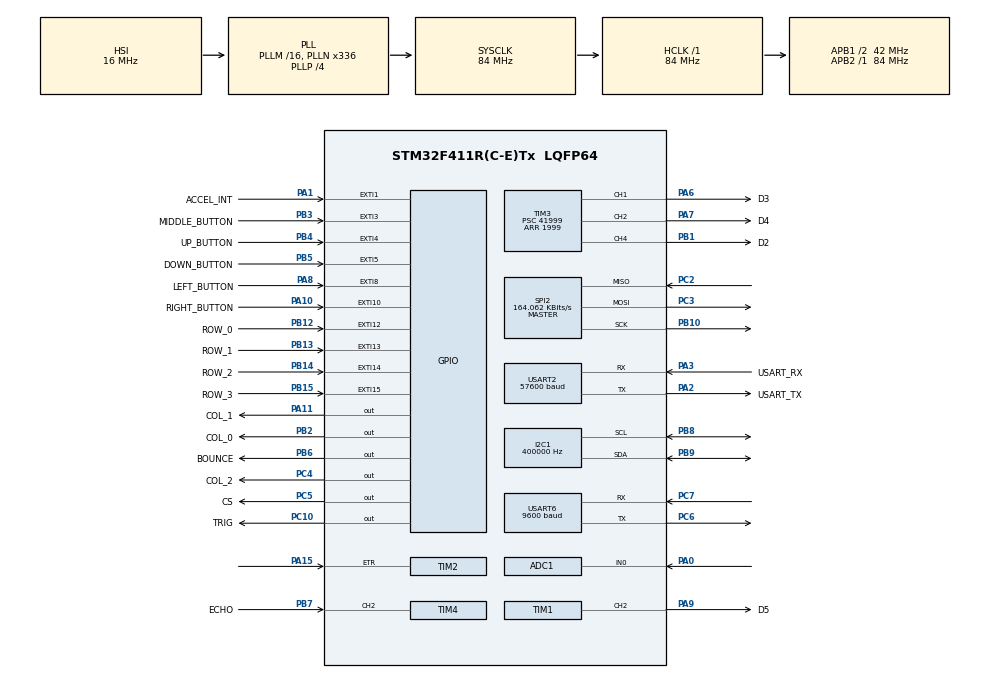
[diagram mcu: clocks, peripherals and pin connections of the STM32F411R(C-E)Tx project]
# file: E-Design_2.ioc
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ADC1.Channel-0\#ChannelRegularConversion=ADC_CHANNEL_0
ADC1.DMAContinuousRequests=ENABLE
ADC1.ExternalTrigConv=ADC_EXTERNALTRIGCONV_T5_CC1
ADC1.NbrOfConversion=1
ADC1.NbrOfConversionFlag=1
ADC1.Rank-0\#ChannelRegularConversion=1
ADC1.SamplingTime-0\#ChannelRegularConversion=ADC_SAMPLETIME_3CYCLES
ADC1.master=1
Dma.ADC1.0.Direction=DMA_PERIPH_TO_MEMORY
Dma.ADC1.0.FIFOMode=DMA_FIFOMODE_DISABLE
Dma.ADC1.0.Instance=DMA2_Stream0
Dma.ADC1.0.MemDataAlignment=DMA_MDATAALIGN_HALFWORD
Dma.ADC1.0.MemInc=DMA_MINC_ENABLE
Dma.ADC1.0.Mode=DMA_CIRCULAR
Dma.ADC1.0.PeriphDataAlignment=DMA_PDATAALIGN_HALFWORD
Dma.ADC1.0.PeriphInc=DMA_PINC_DISABLE
Dma.ADC1.0.Priority=DMA_PRIORITY_LOW
Dma.I2C1_RX.1.Direction=DMA_PERIPH_TO_MEMORY
Dma.I2C1_RX.1.FIFOMode=DMA_FIFOMODE_DISABLE
Dma.I2C1_RX.1.Instance=DMA1_Stream0
Dma.I2C1_RX.1.MemDataAlignment=DMA_MDATAALIGN_BYTE
Dma.I2C1_RX.1.MemInc=DMA_MINC_ENABLE
Dma.I2C1_RX.1.Mode=DMA_NORMAL
Dma.I2C1_RX.1.PeriphDataAlignment=DMA_PDATAALIGN_BYTE
Dma.I2C1_RX.1.PeriphInc=DMA_PINC_DISABLE
Dma.I2C1_RX.1.Priority=DMA_PRIORITY_MEDIUM
Dma.Request0=ADC1
Dma.Request1=I2C1_RX
I2C1.ClockSpeed=400000
I2C1.I2C_Mode=I2C_Fast
IWDG.Prescaler=IWDG_PRESCALER_32
IWDG.Reload=3000
Mcu.Family=STM32F4
Mcu.Name=STM32F411R(C-E)Tx
Mcu.Package=LQFP64
NVIC.DMA1_Stream0_IRQn=true\:0\:0\:false\:false\:true\:false\:true\:true
NVIC.DMA2_Stream0_IRQn=true\:0\:0\:false\:false\:true\:false\:true\:true
NVIC.EXTI15_10_IRQn=true\:0\:0\:false\:false\:true\:true\:true\:true
NVIC.EXTI1_IRQn=true\:0\:0\:false\:false\:true\:true\:true\:true
NVIC.EXTI3_IRQn=true\:0\:0\:false\:false\:true\:true\:true\:true
NVIC.EXTI4_IRQn=true\:0\:0\:false\:false\:true\:true\:true\:true
NVIC.EXTI9_5_IRQn=true\:0\:0\:false\:false\:true\:true\:true\:true
NVIC.I2C1_EV_IRQn=true\:0\:0\:false\:false\:true\:true\:true\:true
NVIC.PVD_IRQn=true\:0\:0\:false\:false\:true\:true\:true\:true
NVIC.PriorityGroup=NVIC_PRIORITYGROUP_0
NVIC.TIM4_IRQn=true\:0\:0\:false\:false\:true\:true\:true\:true
NVIC.USART2_IRQn=true\:0\:0\:false\:false\:true\:true\:true\:true
NVIC.USART6_IRQn=true\:0\:0\:false\:false\:true\:true\:true\:true
PA0-WKUP.Signal=ADCx_IN0
PA1.GPIO_Label=ACCEL_INT
PA1.Signal=GPXTI1
PA10.GPIO_Label=RIGHT_BUTTON
PA10.GPIO_PuPd=GPIO_PULLDOWN
PA10.Signal=GPXTI10
PA11.GPIO_Label=COL_1
PA11.Signal=GPIO_Output
PA13.Mode=Serial_Wire
PA13.Signal=SYS_JTMS-SWDIO
PA14.Mode=Serial_Wire
PA14.Signal=SYS_JTCK-SWCLK
PA15.Signal=S_TIM2_CH1_ETR
PA2.GPIO_Label=USART_TX
PA2.Mode=Asynchronous
PA2.Signal=USART2_TX
PA3.GPIO_Label=USART_RX
PA3.Mode=Asynchronous
PA3.Signal=USART2_RX
PA6.GPIO_Label=D3
PA6.Signal=S_TIM3_CH1
PA7.GPIO_Label=D4
PA7.Signal=S_TIM3_CH2
PA8.GPIO_Label=LEFT_BUTTON
PA8.GPIO_PuPd=GPIO_PULLDOWN
PA8.Signal=GPXTI8
PA9.GPIO_Label=D5
PA9.Signal=S_TIM1_CH2
PB1.GPIO_Label=D2
PB1.Signal=S_TIM3_CH4
PB10.GPIO_PuPd=GPIO_PULLUP
PB10.Mode=Full_Duplex_Master
PB10.Signal=SPI2_SCK
PB12.GPIO_Label=ROW_0
PB12.GPIO_PuPd=GPIO_PULLDOWN
PB12.Signal=GPXTI12
PB13.GPIO_Label=ROW_1
PB13.GPIO_PuPd=GPIO_PULLDOWN
PB13.Signal=GPXTI13
PB14.GPIO_Label=ROW_2
PB14.GPIO_PuPd=GPIO_PULLDOWN
PB14.Signal=GPXTI14
PB15.GPIO_Label=ROW_3
PB15.GPIO_PuPd=GPIO_PULLDOWN
PB15.Signal=GPXTI15
PB2.GPIO_Label=COL_0
PB2.Signal=GPIO_Output
PB3.GPIO_Label=MIDDLE_BUTTON
PB3.GPIO_PuPd=GPIO_PULLDOWN
PB3.Signal=GPXTI3
PB4.GPIO_Label=UP_BUTTON
PB4.GPIO_PuPd=GPIO_PULLDOWN
PB4.Signal=GPXTI4
PB5.GPIO_Label=DOWN_BUTTON
PB5.GPIO_PuPd=GPIO_PULLDOWN
PB5.Signal=GPXTI5
PB6.GPIO_Label=BOUNCE
PB6.Signal=GPIO_Output
PB7.GPIO_Label=ECHO
PB7.Signal=S_TIM4_CH2
PB8.Mode=I2C
PB8.Signal=I2C1_SCL
PB9.Mode=I2C
PB9.Signal=I2C1_SDA
PC10.GPIO_Label=TRIG
PC10.Signal=GPIO_Output
PC14-OSC32_IN.Mode=LSE-External-Oscillator
PC14-OSC32_IN.Signal=RCC_OSC32_IN
PC15-OSC32_OUT.Mode=LSE-External-Oscillator
PC15-OSC32_OUT.Signal=RCC_OSC32_OUT
PC2.GPIO_PuPd=GPIO_PULLUP
PC2.Mode=Full_Duplex_Master
PC2.Signal=SPI2_MISO
PC3.GPIO_PuPd=GPIO_PULLUP
PC3.Mode=Full_Duplex_Master
PC3.Signal=SPI2_MOSI
PC4.GPIO_Label=COL_2
PC4.Signal=GPIO_Output
PC5.GPIO_Label=CS
PC5.GPIO_PuPd=GPIO_PULLUP
PC5.PinState=GPIO_PIN_SET
PC5.Signal=GPIO_Output
PC6.Mode=Asynchronous
PC6.Signal=USART6_TX
PC7.Mode=Asynchronous
PC7.Signal=USART6_RX
ProjectManager.HeapSize=0x200
ProjectManager.StackSize=0x400
ProjectManager.TargetToolchain=STM32CubeIDE
RCC.48MHZClocksFreq_Value=84000000
RCC.AHBFreq_Value=84000000
RCC.APB1CLKDivider=RCC_HCLK_DIV2
RCC.APB1Freq_Value=42000000
RCC.APB1TimFreq_Value=84000000
RCC.APB2Freq_Value=84000000
RCC.APB2TimFreq_Value=84000000
RCC.CortexFreq_Value=84000000
RCC.FLatency-AdvancedSettings=FLASH_LATENCY_2
RCC.HCLKFreq_Value=84000000
RCC.HSE_VALUE=8000000
RCC.HSI_VALUE=16000000
RCC.PLLN=336
RCC.PLLP=RCC_PLLP_DIV4
RCC.RCC_RTC_Clock_Source=RCC_RTCCLKSOURCE_LSE
RCC.RCC_RTC_Clock_SourceVirtual=RCC_RTCCLKSOURCE_LSE
RCC.SYSCLKFreq_VALUE=84000000
RCC.SYSCLKSource=RCC_SYSCLKSOURCE_PLLCLK
RCC.VCOOutputFreq_Value=336000000
SH.ADCx_IN0.0=ADC1_IN0,IN0
SH.S_TIM1_CH2.0=TIM1_CH2,PWM Generation2 CH2
SH.S_TIM2_CH1_ETR.0=TIM2_ETR,TriggerSource_ETR
SH.S_TIM3_CH1.0=TIM3_CH1,PWM Generation1 CH1
SH.S_TIM3_CH2.0=TIM3_CH2,PWM Generation2 CH2
SH.S_TIM3_CH4.0=TIM3_CH4,PWM Generation4 CH4
SH.S_TIM4_CH2.0=TIM4_CH2,Input_Capture2_from_TI2
SPI2.BaudRatePrescaler=SPI_BAUDRATEPRESCALER_256
SPI2.CalculateBaudRate=164.062 KBits/s
SPI2.Direction=SPI_DIRECTION_2LINES
SPI2.Mode=SPI_MODE_MASTER
SPI2.VirtualType=VM_MASTER
TIM1.Channel-PWM\ Generation2\ CH2=TIM_CHANNEL_2
TIM1.OC2Preload_PWM=DISABLE
TIM1.Period=1999
TIM1.Prescaler=41999
TIM1.Pulse-PWM\ Generation2\ CH2=0
TIM2.Slave_TriggerFilter=8
TIM3.Channel-PWM\ Generation1\ CH1=TIM_CHANNEL_1
TIM3.Channel-PWM\ Generation2\ CH2=TIM_CHANNEL_2
TIM3.Channel-PWM\ Generation4\ CH4=TIM_CHANNEL_4
TIM3.OC1Preload_PWM=DISABLE
TIM3.OC2Preload_PWM=DISABLE
TIM3.OC4Preload_PWM=DISABLE
TIM3.Period=1999
TIM3.Prescaler=41999
TIM3.Pulse-PWM\ Generation1\ CH1=0
TIM3.Pulse-PWM\ Generation2\ CH2=0
TIM4.Channel-Input_Capture2_from_TI2=TIM_CHANNEL_2
TIM4.ICPolarity_CH2=TIM_INPUTCHANNELPOLARITY_BOTHEDGE
TIM4.Prescaler=83
TIM5.Channel-Output\ Compare1\ No\ Output=TIM_CHANNEL_1
TIM5.OCMode_1=TIM_OCMODE_TOGGLE
TIM5.Period=999
TIM5.Prescaler=83
TIM5.Pulse-Output\ Compare1\ No\ Output=500
TIM5.TIM_MasterOutputTrigger=TIM_TRGO_UPDATE
TIM5.TIM_MasterSlaveMode=TIM_MASTERSLAVEMODE_DISABLE
USART2.BaudRate=57600
USART2.Parity=PARITY_EVEN
USART2.VirtualMode=VM_ASYNC
USART2.WordLength=WORDLENGTH_9B
USART6.BaudRate=9600
USART6.OverSampling=UART_OVERSAMPLING_16
USART6.Parity=PARITY_NONE
USART6.StopBits=STOPBITS_1
USART6.VirtualMode=VM_ASYNC
USART6.WordLength=WORDLENGTH_8B
VP_FATFS_VS_Generic.Mode=User_defined
VP_IWDG_VS_IWDG.Mode=IWDG_Activate
VP_RTC_VS_RTC_Activate.Mode=RTC_Enabled
VP_RTC_VS_RTC_Calendar.Mode=RTC_Calendar
VP_TIM2_VS_ControllerModeClock.Mode=Clock Mode
VP_TIM5_VS_ClockSourceINT.Mode=Internal
VP_TIM5_VS_no_output1.Mode=Output Compare1 No Output
board=NUCLEO-F411RE

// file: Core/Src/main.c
/* USER CODE BEGIN Header */
/**
 ******************************************************************************
 * @file           : main.c
 * @brief          : Main program body
 ******************************************************************************
 * @attention
 *
 * Copyright (c) 2026 STMicroelectronics.
 * All rights reserved.
 *
 * This software is licensed under terms that can be found in the LICENSE file
 * in the root directory of this software component.
 * If no LICENSE file comes with this software, it is provided AS-IS.
 *
 ******************************************************************************
 */
/* USER CODE END Header */
#include "main.h"
#include "fatfs.h"

/* USER CODE BEGIN Includes */
#include <stdio.h>   // Required for sprintf
#include <string.h>  // Required for strlen
#include "General.h"
/* USER CODE END Includes */

ADC_HandleTypeDef hadc1;
DMA_HandleTypeDef hdma_adc1;

I2C_HandleTypeDef hi2c1;
DMA_HandleTypeDef hdma_i2c1_rx;

IWDG_HandleTypeDef hiwdg;

RTC_HandleTypeDef hrtc;

SPI_HandleTypeDef hspi2;

TIM_HandleTypeDef htim1;
TIM_HandleTypeDef htim2;
TIM_HandleTypeDef htim3;
TIM_HandleTypeDef htim4;
TIM_HandleTypeDef htim5;

UART_HandleTypeDef huart2;
UART_HandleTypeDef huart6;

/* USER CODE BEGIN PV */

//Buttons
extern volatile int triggerTick[6];
extern volatile uint8_t triggerDetected[6];

//UART
extern volatile uint8_t command_ready;
char tx_buffer[50];

//TEMP SENSOR

//DISTANCE SENSOR

/* USER CODE END PV */

void SystemClock_Config(void);
static void MX_GPIO_Init(void);
static void MX_DMA_Init(void);
static void MX_USART2_UART_Init(void);
static void MX_TIM1_Init(void);
static void MX_TIM3_Init(void);
static void MX_TIM2_Init(void);
static void MX_TIM4_Init(void);
static void MX_I2C1_Init(void);
static void MX_ADC1_Init(void);
static void MX_TIM5_Init(void);
static void MX_USART6_UART_Init(void);
static void MX_SPI2_Init(void);
static void MX_RTC_Init(void);
static void MX_IWDG_Init(void);

int main(void)
{

  /* MCU Configuration--------------------------------------------------------*/

  /* Reset of all peripherals, Initializes the Flash interface and the Systick. */
  HAL_Init();

  /* Configure the system clock */
  SystemClock_Config();

  /* Initialize all configured peripherals */
  MX_GPIO_Init();
  MX_DMA_Init();
  MX_USART2_UART_Init();
  MX_TIM1_Init();
  MX_TIM3_Init();
  MX_TIM2_Init();
  MX_TIM4_Init();
  MX_I2C1_Init();
  MX_ADC1_Init();
  MX_TIM5_Init();
  MX_USART6_UART_Init();
  MX_FATFS_Init();
  MX_SPI2_Init();
  MX_RTC_Init();
  MX_IWDG_Init();
  /* USER CODE BEGIN 2 */

	//testOLED();

	HAL_TIM_Base_Start(&htim2);
	HAL_TIM_IC_Start_IT(&htim4, TIM_CHANNEL_2);
	HAL_TIM_Base_Start(&htim5);
	defaultSetup();
  /* USER CODE END 2 */

  /* Infinite loop */
  /* USER CODE BEGIN WHILE */
	uint8_t sent = 0;
	uint32_t boot_time = HAL_GetTick();

	while (1) {

		if (!sent && (HAL_GetTick() - boot_time) > 100) {
			sprintf(tx_buffer, "*27547957#\n");
			HAL_UART_Transmit(&huart2, (uint8_t*) tx_buffer, strlen(tx_buffer),
					1000);
			sent = 1;

			MPU6050_Init_2_A();

		} else{ //Allows a startup time

			mainLoop();

		}
    /* USER CODE END WHILE */

    /* USER CODE BEGIN 3 */

		HAL_IWDG_Refresh(&hiwdg); //PET THE WATCHDOG

	}
  /* USER CODE END 3 */
}

void SystemClock_Config(void)
{
  RCC_OscInitTypeDef RCC_OscInitStruct = {0};
  RCC_ClkInitTypeDef RCC_ClkInitStruct = {0};

  /** Configure the main internal regulator output voltage
  */
  __HAL_RCC_PWR_CLK_ENABLE();
  __HAL_PWR_VOLTAGESCALING_CONFIG(PWR_REGULATOR_VOLTAGE_SCALE1);

  /** Initializes the RCC Oscillators according to the specified parameters
  * in the RCC_OscInitTypeDef structure.
  */
  RCC_OscInitStruct.OscillatorType = RCC_OSCILLATORTYPE_HSI|RCC_OSCILLATORTYPE_LSI
                              |RCC_OSCILLATORTYPE_LSE;
  RCC_OscInitStruct.LSEState = RCC_LSE_ON;
  RCC_OscInitStruct.HSIState = RCC_HSI_ON;
  RCC_OscInitStruct.HSICalibrationValue = RCC_HSICALIBRATION_DEFAULT;
  RCC_OscInitStruct.LSIState = RCC_LSI_ON;
  RCC_OscInitStruct.PLL.PLLState = RCC_PLL_ON;
  RCC_OscInitStruct.PLL.PLLSource = RCC_PLLSOURCE_HSI;
  RCC_OscInitStruct.PLL.PLLM = 16;
  RCC_OscInitStruct.PLL.PLLN = 336;
  RCC_OscInitStruct.PLL.PLLP = RCC_PLLP_DIV4;
  RCC_OscInitStruct.PLL.PLLQ = 4;
  if (HAL_RCC_OscConfig(&RCC_OscInitStruct) != HAL_OK)
  {
    Error_Handler();
  }

  /** Initializes the CPU, AHB and APB buses clocks
  */
  RCC_ClkInitStruct.ClockType = RCC_CLOCKTYPE_HCLK|RCC_CLOCKTYPE_SYSCLK
                              |RCC_CLOCKTYPE_PCLK1|RCC_CLOCKTYPE_PCLK2;
  RCC_ClkInitStruct.SYSCLKSource = RCC_SYSCLKSOURCE_PLLCLK;
  RCC_ClkInitStruct.AHBCLKDivider = RCC_SYSCLK_DIV1;
  RCC_ClkInitStruct.APB1CLKDivider = RCC_HCLK_DIV2;
  RCC_ClkInitStruct.APB2CLKDivider = RCC_HCLK_DIV1;

  if (HAL_RCC_ClockConfig(&RCC_ClkInitStruct, FLASH_LATENCY_2) != HAL_OK)
  {
    Error_Handler();
  }
}

static void MX_ADC1_Init(void)
{

  ADC_ChannelConfTypeDef sConfig = {0};

  /** Configure the global features of the ADC (Clock, Resolution, Data Alignment and number of conversion)
  */
  hadc1.Instance = ADC1;
  hadc1.Init.ClockPrescaler = ADC_CLOCK_SYNC_PCLK_DIV4;
  hadc1.Init.Resolution = ADC_RESOLUTION_12B;
  hadc1.Init.ScanConvMode = DISABLE;
  hadc1.Init.ContinuousConvMode = DISABLE;
  hadc1.Init.DiscontinuousConvMode = DISABLE;
  hadc1.Init.ExternalTrigConvEdge = ADC_EXTERNALTRIGCONVEDGE_RISING;
  hadc1.Init.ExternalTrigConv = ADC_EXTERNALTRIGCONV_T5_CC1;
  hadc1.Init.DataAlign = ADC_DATAALIGN_RIGHT;
  hadc1.Init.NbrOfConversion = 1;
  hadc1.Init.DMAContinuousRequests = ENABLE;
  hadc1.Init.EOCSelection = ADC_EOC_SINGLE_CONV;
  if (HAL_ADC_Init(&hadc1) != HAL_OK)
  {
    Error_Handler();
  }

  /** Configure for the selected ADC regular channel its corresponding rank in the sequencer and its sample time.
  */
  sConfig.Channel = ADC_CHANNEL_0;
  sConfig.Rank = 1;
  sConfig.SamplingTime = ADC_SAMPLETIME_3CYCLES;
  if (HAL_ADC_ConfigChannel(&hadc1, &sConfig) != HAL_OK)
  {
    Error_Handler();
  }

}

static void MX_I2C1_Init(void)
{

  hi2c1.Instance = I2C1;
  hi2c1.Init.ClockSpeed = 400000;
  hi2c1.Init.DutyCycle = I2C_DUTYCYCLE_2;
  hi2c1.Init.OwnAddress1 = 0;
  hi2c1.Init.AddressingMode = I2C_ADDRESSINGMODE_7BIT;
  hi2c1.Init.DualAddressMode = I2C_DUALADDRESS_DISABLE;
  hi2c1.Init.OwnAddress2 = 0;
  hi2c1.Init.GeneralCallMode = I2C_GENERALCALL_DISABLE;
  hi2c1.Init.NoStretchMode = I2C_NOSTRETCH_DISABLE;
  if (HAL_I2C_Init(&hi2c1) != HAL_OK)
  {
    Error_Handler();
  }

}

static void MX_IWDG_Init(void)
{

  hiwdg.Instance = IWDG;
  hiwdg.Init.Prescaler = IWDG_PRESCALER_32;
  hiwdg.Init.Reload = 3000;
  if (HAL_IWDG_Init(&hiwdg) != HAL_OK)
  {
    Error_Handler();
  }

}

static void MX_RTC_Init(void)
{

  RTC_TimeTypeDef sTime = {0};
  RTC_DateTypeDef sDate = {0};

  /** Initialize RTC Only
  */
  hrtc.Instance = RTC;
  hrtc.Init.HourFormat = RTC_HOURFORMAT_24;
  hrtc.Init.AsynchPrediv = 127;
  hrtc.Init.SynchPrediv = 255;
  hrtc.Init.OutPut = RTC_OUTPUT_DISABLE;
  hrtc.Init.OutPutPolarity = RTC_OUTPUT_POLARITY_HIGH;
  hrtc.Init.OutPutType = RTC_OUTPUT_TYPE_OPENDRAIN;
  if (HAL_RTC_Init(&hrtc) != HAL_OK)
  {
    Error_Handler();
  }

  /** Initialize RTC and set the Time and Date
  */
  sTime.Hours = 0x0;
  sTime.Minutes = 0x0;
  sTime.Seconds = 0x0;
  sTime.DayLightSaving = RTC_DAYLIGHTSAVING_NONE;
  sTime.StoreOperation = RTC_STOREOPERATION_RESET;
  if (HAL_RTC_SetTime(&hrtc, &sTime, RTC_FORMAT_BCD) != HAL_OK)
  {
    Error_Handler();
  }
  sDate.WeekDay = RTC_WEEKDAY_MONDAY;
  sDate.Month = RTC_MONTH_JANUARY;
  sDate.Date = 0x1;
  sDate.Year = 0x0;

  if (HAL_RTC_SetDate(&hrtc, &sDate, RTC_FORMAT_BCD) != HAL_OK)
  {
    Error_Handler();
  }

}

static void MX_SPI2_Init(void)
{

  /* SPI2 parameter configuration*/
  hspi2.Instance = SPI2;
  hspi2.Init.Mode = SPI_MODE_MASTER;
  hspi2.Init.Direction = SPI_DIRECTION_2LINES;
  hspi2.Init.DataSize = SPI_DATASIZE_8BIT;
  hspi2.Init.CLKPolarity = SPI_POLARITY_LOW;
  hspi2.Init.CLKPhase = SPI_PHASE_1EDGE;
  hspi2.Init.NSS = SPI_NSS_SOFT;
  hspi2.Init.BaudRatePrescaler = SPI_BAUDRATEPRESCALER_256;
  hspi2.Init.FirstBit = SPI_FIRSTBIT_MSB;
  hspi2.Init.TIMode = SPI_TIMODE_DISABLE;
  hspi2.Init.CRCCalculation = SPI_CRCCALCULATION_DISABLE;
  hspi2.Init.CRCPolynomial = 10;
  if (HAL_SPI_Init(&hspi2) != HAL_OK)
  {
    Error_Handler();
  }

}

static void MX_TIM1_Init(void)
{

  TIM_MasterConfigTypeDef sMasterConfig = {0};
  TIM_OC_InitTypeDef sConfigOC = {0};
  TIM_BreakDeadTimeConfigTypeDef sBreakDeadTimeConfig = {0};

  htim1.Instance = TIM1;
  htim1.Init.Prescaler = 41999;
  htim1.Init.CounterMode = TIM_COUNTERMODE_UP;
  htim1.Init.Period = 1999;
  htim1.Init.ClockDivision = TIM_CLOCKDIVISION_DIV1;
  htim1.Init.RepetitionCounter = 0;
  htim1.Init.AutoReloadPreload = TIM_AUTORELOAD_PRELOAD_DISABLE;
  if (HAL_TIM_PWM_Init(&htim1) != HAL_OK)
  {
    Error_Handler();
  }
  sMasterConfig.MasterOutputTrigger = TIM_TRGO_RESET;
  sMasterConfig.MasterSlaveMode = TIM_MASTERSLAVEMODE_DISABLE;
  if (HAL_TIMEx_MasterConfigSynchronization(&htim1, &sMasterConfig) != HAL_OK)
  {
    Error_Handler();
  }
  sConfigOC.OCMode = TIM_OCMODE_PWM1;
  sConfigOC.Pulse = 0;
  sConfigOC.OCPolarity = TIM_OCPOLARITY_HIGH;
  sConfigOC.OCNPolarity = TIM_OCNPOLARITY_HIGH;
  sConfigOC.OCFastMode = TIM_OCFAST_DISABLE;
  sConfigOC.OCIdleState = TIM_OCIDLESTATE_RESET;
  sConfigOC.OCNIdleState = TIM_OCNIDLESTATE_RESET;
  if (HAL_TIM_PWM_ConfigChannel(&htim1, &sConfigOC, TIM_CHANNEL_2) != HAL_OK)
  {
    Error_Handler();
  }
  __HAL_TIM_DISABLE_OCxPRELOAD(&htim1, TIM_CHANNEL_2);
  sBreakDeadTimeConfig.OffStateRunMode = TIM_OSSR_DISABLE;
  sBreakDeadTimeConfig.OffStateIDLEMode = TIM_OSSI_DISABLE;
  sBreakDeadTimeConfig.LockLevel = TIM_LOCKLEVEL_OFF;
  sBreakDeadTimeConfig.DeadTime = 0;
  sBreakDeadTimeConfig.BreakState = TIM_BREAK_DISABLE;
  sBreakDeadTimeConfig.BreakPolarity = TIM_BREAKPOLARITY_HIGH;
  sBreakDeadTimeConfig.AutomaticOutput = TIM_AUTOMATICOUTPUT_DISABLE;
  if (HAL_TIMEx_ConfigBreakDeadTime(&htim1, &sBreakDeadTimeConfig) != HAL_OK)
  {
    Error_Handler();
  }
  HAL_TIM_MspPostInit(&htim1);

}

static void MX_TIM2_Init(void)
{

  TIM_SlaveConfigTypeDef sSlaveConfig = {0};
  TIM_MasterConfigTypeDef sMasterConfig = {0};

  htim2.Instance = TIM2;
  htim2.Init.Prescaler = 0;
  htim2.Init.CounterMode = TIM_COUNTERMODE_UP;
  htim2.Init.Period = 4294967295;
  htim2.Init.ClockDivision = TIM_CLOCKDIVISION_DIV1;
  htim2.Init.AutoReloadPreload = TIM_AUTORELOAD_PRELOAD_DISABLE;
  if (HAL_TIM_Base_Init(&htim2) != HAL_OK)
  {
    Error_Handler();
  }
  sSlaveConfig.SlaveMode = TIM_SLAVEMODE_EXTERNAL1;
  sSlaveConfig.InputTrigger = TIM_TS_ETRF;
  sSlaveConfig.TriggerPolarity = TIM_TRIGGERPOLARITY_NONINVERTED;
  sSlaveConfig.TriggerPrescaler = TIM_TRIGGERPRESCALER_DIV1;
  sSlaveConfig.TriggerFilter = 8;
  if (HAL_TIM_SlaveConfigSynchro(&htim2, &sSlaveConfig) != HAL_OK)
  {
    Error_Handler();
  }
  sMasterConfig.MasterOutputTrigger = TIM_TRGO_RESET;
  sMasterConfig.MasterSlaveMode = TIM_MASTERSLAVEMODE_DISABLE;
  if (HAL_TIMEx_MasterConfigSynchronization(&htim2, &sMasterConfig) != HAL_OK)
  {
    Error_Handler();
  }

}

static void MX_TIM3_Init(void)
{

  TIM_MasterConfigTypeDef sMasterConfig = {0};
  TIM_OC_InitTypeDef sConfigOC = {0};

  htim3.Instance = TIM3;
  htim3.Init.Prescaler = 41999;
  htim3.Init.CounterMode = TIM_COUNTERMODE_UP;
  htim3.Init.Period = 1999;
  htim3.Init.ClockDivision = TIM_CLOCKDIVISION_DIV1;
  htim3.Init.AutoReloadPreload = TIM_AUTORELOAD_PRELOAD_DISABLE;
  if (HAL_TIM_PWM_Init(&htim3) != HAL_OK)
  {
    Error_Handler();
  }
  sMasterConfig.MasterOutputTrigger = TIM_TRGO_RESET;
  sMasterConfig.MasterSlaveMode = TIM_MASTERSLAVEMODE_DISABLE;
  if (HAL_TIMEx_MasterConfigSynchronization(&htim3, &sMasterConfig) != HAL_OK)
  {
    Error_Handler();
  }
  sConfigOC.OCMode = TIM_OCMODE_PWM1;
  sConfigOC.Pulse = 0;
  sConfigOC.OCPolarity = TIM_OCPOLARITY_HIGH;
  sConfigOC.OCFastMode = TIM_OCFAST_DISABLE;
  if (HAL_TIM_PWM_ConfigChannel(&htim3, &sConfigOC, TIM_CHANNEL_1) != HAL_OK)
  {
    Error_Handler();
  }
  __HAL_TIM_DISABLE_OCxPRELOAD(&htim3, TIM_CHANNEL_1);
  if (HAL_TIM_PWM_ConfigChannel(&htim3, &sConfigOC, TIM_CHANNEL_2) != HAL_OK)
  {
    Error_Handler();
  }
  __HAL_TIM_DISABLE_OCxPRELOAD(&htim3, TIM_CHANNEL_2);
  if (HAL_TIM_PWM_ConfigChannel(&htim3, &sConfigOC, TIM_CHANNEL_4) != HAL_OK)
  {
    Error_Handler();
  }
  __HAL_TIM_DISABLE_OCxPRELOAD(&htim3, TIM_CHANNEL_4);
  HAL_TIM_MspPostInit(&htim3);

}

static void MX_TIM4_Init(void)
{

  TIM_MasterConfigTypeDef sMasterConfig = {0};
  TIM_IC_InitTypeDef sConfigIC = {0};

  htim4.Instance = TIM4;
  htim4.Init.Prescaler = 83;
  htim4.Init.CounterMode = TIM_COUNTERMODE_UP;
  htim4.Init.Period = 65535;
  htim4.Init.ClockDivision = TIM_CLOCKDIVISION_DIV1;
  htim4.Init.AutoReloadPreload = TIM_AUTORELOAD_PRELOAD_DISABLE;
  if (HAL_TIM_IC_Init(&htim4) != HAL_OK)
  {
    Error_Handler();
  }
  sMasterConfig.MasterOutputTrigger = TIM_TRGO_RESET;
  sMasterConfig.MasterSlaveMode = TIM_MASTERSLAVEMODE_DISABLE;
  if (HAL_TIMEx_MasterConfigSynchronization(&htim4, &sMasterConfig) != HAL_OK)
  {
    Error_Handler();
  }
  sConfigIC.ICPolarity = TIM_INPUTCHANNELPOLARITY_BOTHEDGE;
  sConfigIC.ICSelection = TIM_ICSELECTION_DIRECTTI;
  sConfigIC.ICPrescaler = TIM_ICPSC_DIV1;
  sConfigIC.ICFilter = 0;
  if (HAL_TIM_IC_ConfigChannel(&htim4, &sConfigIC, TIM_CHANNEL_2) != HAL_OK)
  {
    Error_Handler();
  }

}

static void MX_TIM5_Init(void)
{

  TIM_ClockConfigTypeDef sClockSourceConfig = {0};
  TIM_MasterConfigTypeDef sMasterConfig = {0};
  TIM_OC_InitTypeDef sConfigOC = {0};

  htim5.Instance = TIM5;
  htim5.Init.Prescaler = 83;
  htim5.Init.CounterMode = TIM_COUNTERMODE_UP;
  htim5.Init.Period = 999;
  htim5.Init.ClockDivision = TIM_CLOCKDIVISION_DIV1;
  htim5.Init.AutoReloadPreload = TIM_AUTORELOAD_PRELOAD_DISABLE;
  if (HAL_TIM_Base_Init(&htim5) != HAL_OK)
  {
    Error_Handler();
  }
  sClockSourceConfig.ClockSource = TIM_CLOCKSOURCE_INTERNAL;
  if (HAL_TIM_ConfigClockSource(&htim5, &sClockSourceConfig) != HAL_OK)
  {
    Error_Handler();
  }
  if (HAL_TIM_OC_Init(&htim5) != HAL_OK)
  {
    Error_Handler();
  }
  sMasterConfig.MasterOutputTrigger = TIM_TRGO_UPDATE;
  sMasterConfig.MasterSlaveMode = TIM_MASTERSLAVEMODE_DISABLE;
  if (HAL_TIMEx_MasterConfigSynchronization(&htim5, &sMasterConfig) != HAL_OK)
  {
    Error_Handler();
  }
  sConfigOC.OCMode = TIM_OCMODE_TOGGLE;
  sConfigOC.Pulse = 500;
  sConfigOC.OCPolarity = TIM_OCPOLARITY_HIGH;
  sConfigOC.OCFastMode = TIM_OCFAST_DISABLE;
  if (HAL_TIM_OC_ConfigChannel(&htim5, &sConfigOC, TIM_CHANNEL_1) != HAL_OK)
  {
    Error_Handler();
  }

}

static void MX_USART2_UART_Init(void)
{

  huart2.Instance = USART2;
  huart2.Init.BaudRate = 57600;
  huart2.Init.WordLength = UART_WORDLENGTH_9B;
  huart2.Init.StopBits = UART_STOPBITS_1;
  huart2.Init.Parity = UART_PARITY_EVEN;
  huart2.Init.Mode = UART_MODE_TX_RX;
  huart2.Init.HwFlowCtl = UART_HWCONTROL_NONE;
  huart2.Init.OverSampling = UART_OVERSAMPLING_16;
  if (HAL_UART_Init(&huart2) != HAL_OK)
  {
    Error_Handler();
  }

}

static void MX_USART6_UART_Init(void)
{

  huart6.Instance = USART6;
  huart6.Init.BaudRate = 9600;
  huart6.Init.WordLength = UART_WORDLENGTH_8B;
  huart6.Init.StopBits = UART_STOPBITS_1;
  huart6.Init.Parity = UART_PARITY_NONE;
  huart6.Init.Mode = UART_MODE_TX_RX;
  huart6.Init.HwFlowCtl = UART_HWCONTROL_NONE;
  huart6.Init.OverSampling = UART_OVERSAMPLING_16;
  if (HAL_UART_Init(&huart6) != HAL_OK)
  {
    Error_Handler();
  }

}

static void MX_DMA_Init(void)
{

  /* DMA controller clock enable */
  __HAL_RCC_DMA2_CLK_ENABLE();
  __HAL_RCC_DMA1_CLK_ENABLE();

  /* DMA interrupt init */
  /* DMA1_Stream0_IRQn interrupt configuration */
  HAL_NVIC_SetPriority(DMA1_Stream0_IRQn, 0, 0);
  HAL_NVIC_EnableIRQ(DMA1_Stream0_IRQn);
  /* DMA2_Stream0_IRQn interrupt configuration */
  HAL_NVIC_SetPriority(DMA2_Stream0_IRQn, 0, 0);
  HAL_NVIC_EnableIRQ(DMA2_Stream0_IRQn);

}

static void MX_GPIO_Init(void)
{
  GPIO_InitTypeDef GPIO_InitStruct = {0};

  /* GPIO Ports Clock Enable */
  __HAL_RCC_GPIOC_CLK_ENABLE();
  __HAL_RCC_GPIOA_CLK_ENABLE();
  __HAL_RCC_GPIOB_CLK_ENABLE();

  /*Configure GPIO pin Output Level */
  HAL_GPIO_WritePin(GPIOC, COL_2_Pin|TRIG_Pin, GPIO_PIN_RESET);

  /*Configure GPIO pin Output Level */
  HAL_GPIO_WritePin(CS_GPIO_Port, CS_Pin, GPIO_PIN_SET);

  /*Configure GPIO pin Output Level */
  HAL_GPIO_WritePin(GPIOB, COL_0_Pin|BOUNCE_Pin, GPIO_PIN_RESET);

  /*Configure GPIO pin Output Level */
  HAL_GPIO_WritePin(COL_1_GPIO_Port, COL_1_Pin, GPIO_PIN_RESET);

  /*Configure GPIO pin : ACCEL_INT_Pin */
  GPIO_InitStruct.Pin = ACCEL_INT_Pin;
  GPIO_InitStruct.Mode = GPIO_MODE_IT_RISING;
  GPIO_InitStruct.Pull = GPIO_NOPULL;
  HAL_GPIO_Init(ACCEL_INT_GPIO_Port, &GPIO_InitStruct);

  /*Configure GPIO pins : COL_2_Pin TRIG_Pin */
  GPIO_InitStruct.Pin = COL_2_Pin|TRIG_Pin;
  GPIO_InitStruct.Mode = GPIO_MODE_OUTPUT_PP;
  GPIO_InitStruct.Pull = GPIO_NOPULL;
  GPIO_InitStruct.Speed = GPIO_SPEED_FREQ_LOW;
  HAL_GPIO_Init(GPIOC, &GPIO_InitStruct);

  /*Configure GPIO pin : CS_Pin */
  GPIO_InitStruct.Pin = CS_Pin;
  GPIO_InitStruct.Mode = GPIO_MODE_OUTPUT_PP;
  GPIO_InitStruct.Pull = GPIO_PULLUP;
  GPIO_InitStruct.Speed = GPIO_SPEED_FREQ_LOW;
  HAL_GPIO_Init(CS_GPIO_Port, &GPIO_InitStruct);

  /*Configure GPIO pins : COL_0_Pin BOUNCE_Pin */
  GPIO_InitStruct.Pin = COL_0_Pin|BOUNCE_Pin;
  GPIO_InitStruct.Mode = GPIO_MODE_OUTPUT_PP;
  GPIO_InitStruct.Pull = GPIO_NOPULL;
  GPIO_InitStruct.Speed = GPIO_SPEED_FREQ_LOW;
  HAL_GPIO_Init(GPIOB, &GPIO_InitStruct);

  /*Configure GPIO pins : ROW_0_Pin ROW_1_Pin ROW_2_Pin ROW_3_Pin
                           MIDDLE_BUTTON_Pin UP_BUTTON_Pin DOWN_BUTTON_Pin */
  GPIO_InitStruct.Pin = ROW_0_Pin|ROW_1_Pin|ROW_2_Pin|ROW_3_Pin
                          |MIDDLE_BUTTON_Pin|UP_BUTTON_Pin|DOWN_BUTTON_Pin;
  GPIO_InitStruct.Mode = GPIO_MODE_IT_RISING;
  GPIO_InitStruct.Pull = GPIO_PULLDOWN;
  HAL_GPIO_Init(GPIOB, &GPIO_InitStruct);

  /*Configure GPIO pins : LEFT_BUTTON_Pin RIGHT_BUTTON_Pin */
  GPIO_InitStruct.Pin = LEFT_BUTTON_Pin|RIGHT_BUTTON_Pin;
  GPIO_InitStruct.Mode = GPIO_MODE_IT_RISING;
  GPIO_InitStruct.Pull = GPIO_PULLDOWN;
  HAL_GPIO_Init(GPIOA, &GPIO_InitStruct);

  /*Configure GPIO pin : COL_1_Pin */
  GPIO_InitStruct.Pin = COL_1_Pin;
  GPIO_InitStruct.Mode = GPIO_MODE_OUTPUT_PP;
  GPIO_InitStruct.Pull = GPIO_NOPULL;
  GPIO_InitStruct.Speed = GPIO_SPEED_FREQ_LOW;
  HAL_GPIO_Init(COL_1_GPIO_Port, &GPIO_InitStruct);

  /* EXTI interrupt init*/
  HAL_NVIC_SetPriority(EXTI1_IRQn, 0, 0);
  HAL_NVIC_EnableIRQ(EXTI1_IRQn);

  HAL_NVIC_SetPriority(EXTI3_IRQn, 0, 0);
  HAL_NVIC_EnableIRQ(EXTI3_IRQn);

  HAL_NVIC_SetPriority(EXTI4_IRQn, 0, 0);
  HAL_NVIC_EnableIRQ(EXTI4_IRQn);

  HAL_NVIC_SetPriority(EXTI9_5_IRQn, 0, 0);
  HAL_NVIC_EnableIRQ(EXTI9_5_IRQn);

  HAL_NVIC_SetPriority(EXTI15_10_IRQn, 0, 0);
  HAL_NVIC_EnableIRQ(EXTI15_10_IRQn);

}

/* USER CODE BEGIN 4 */

/* USER CODE BEGIN 4 */

//void HAL_TIM_IC_CaptureCallback(TIM_HandleTypeDef *htim)
/* USER CODE END 4 */

void Error_Handler(void)
{
	__disable_irq();
	while (1) {
	}
}
